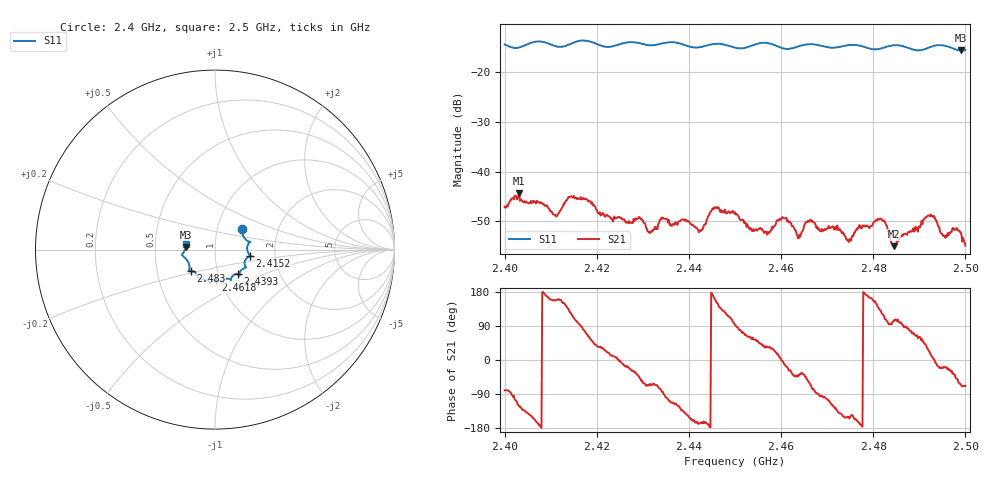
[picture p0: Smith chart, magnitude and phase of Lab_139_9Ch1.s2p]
# Hz S RI R 50
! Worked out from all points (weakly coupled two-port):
!   601 points, 2.4 GHz to 2.5 GHz, reference 50 ohm
!   highest |S21| = -44.35 dB at 2.4032 GHz (marker M1); lowest = -55.0 dB at 2.4845 GHz (marker M2)
!   lowest |S11| = -15.7 dB at 2.499 GHz (marker M3), VSWR 1.39, Z = 35.9 + j1.14 ohm
!   |S11| at or under -10 dB: start of sweep to end of sweep
!   S12 and S22 are empty: the file has one direction only
!   S11 on the Smith chart (normalised r, x): 2.4 GHz: 1.31, +0.31; 2.4152 GHz: 1.48, -0.10; 2.4393 GHz: 1.23, -0.35; 2.4618 GHz: 0.95, -0.33; 2.483 GHz: 0.74, -0.18; 2.5 GHz: 0.72, +0.05
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2.4e9  0.1507 0.114  0.000778 -0.00435  0 0  0 0
2.403167e9  0.1647 0.0639  -0.00329 -0.00509  0 0  0 0
2.411e9  0.1808 0.0199  -0.00341 0.00137  0 0  0 0
2.415167e9  0.196 -0.0329  -0.00169 0.00514  0 0  0 0
2.416667e9  0.2035 -0.0378  0.000176 0.00523  0 0  0 0
2.433333e9  0.1368 -0.1314  0.000907 -0.0028  0 0  0 0
2.439333e9  0.1255 -0.1354  -0.00262 -0.00199  0 0  0 0
2.4425e9  0.0966 -0.1493  -0.0025 -0.000619  0 0  0 0
2.4455e9  0.0888 -0.1693  -0.00413 0.00128  0 0  0 0
2.45e9  0.0693 -0.1615  -0.000151 0.0039  0 0  0 0
2.456833e9  0.0441 -0.1908  0.00201 0.00146  0 0  0 0
2.461833e9  0.00405 -0.171  0.0028 -0.00145  0 0  0 0
2.463833e9  -0.019 -0.1802  0.00165 -0.00136  0 0  0 0
2.466667e9  -0.0261 -0.1886  0.00092 -0.003  0 0  0 0
2.474667e9  -0.0837 -0.1665  -0.0017 -0.000974  0 0  0 0
2.483e9  -0.1356 -0.1181  -0.000573 0.00276  0 0  0 0
2.483333e9  -0.1382 -0.1179  -0.000183 0.00242  0 0  0 0
2.4845e9  -0.1439 -0.1173  -0.000463 0.00172  0 0  0 0
2.492167e9  -0.1716 -0.0415  0.00334 0.00137  0 0  0 0
2.495167e9  -0.183 -0.0268  0.0021 -0.000808  0 0  0 0
2.499e9  -0.1637 0.0154  0.00105 -0.00222  0 0  0 0
2.5e9  -0.1634 0.0335  0.000662 -0.00168  0 0  0 0
